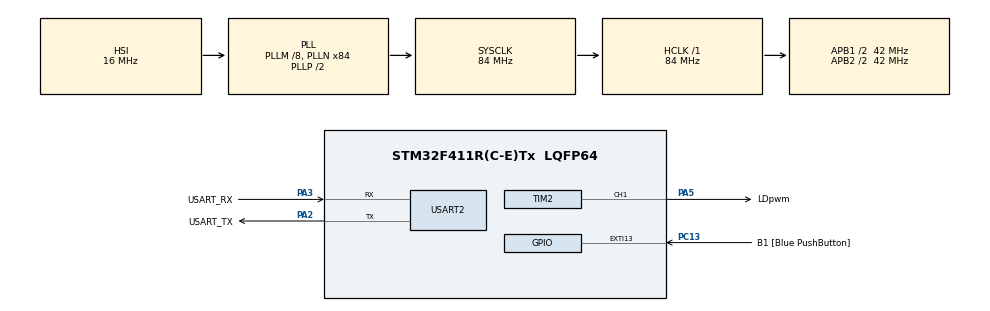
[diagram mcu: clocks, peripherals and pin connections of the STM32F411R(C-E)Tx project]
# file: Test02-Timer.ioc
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Mcu.Family=STM32F4
Mcu.Name=STM32F411R(C-E)Tx
Mcu.Package=LQFP64
NVIC.PriorityGroup=NVIC_PRIORITYGROUP_0
PA13.GPIO_Label=TMS
PA13.Mode=Serial_Wire
PA13.Signal=SYS_JTMS-SWDIO
PA14.GPIO_Label=TCK
PA14.Mode=Serial_Wire
PA14.Signal=SYS_JTCK-SWCLK
PA2.GPIO_Label=USART_TX
PA2.Mode=Asynchronous
PA2.Signal=USART2_TX
PA3.GPIO_Label=USART_RX
PA3.Mode=Asynchronous
PA3.Signal=USART2_RX
PA5.GPIO_Label=LDpwm
PA5.Signal=S_TIM2_CH1_ETR
PB3.GPIO_Label=SWO
PB3.Signal=SYS_JTDO-SWO
PC13-ANTI_TAMP.GPIO_Label=B1 [Blue PushButton]
PC13-ANTI_TAMP.GPIO_ModeDefaultEXTI=GPIO_MODE_IT_FALLING
PC13-ANTI_TAMP.Signal=GPXTI13
PC14-OSC32_IN.Mode=LSE-External-Oscillator
PC14-OSC32_IN.Signal=RCC_OSC32_IN
PC15-OSC32_OUT.Mode=LSE-External-Oscillator
PC15-OSC32_OUT.Signal=RCC_OSC32_OUT
PH0\ -\ OSC_IN.Mode=HSE-External-Clock-Source
PH0\ -\ OSC_IN.Signal=RCC_OSC_IN
PH1\ -\ OSC_OUT.Mode=HSE-External-Clock-Source
PH1\ -\ OSC_OUT.Signal=RCC_OSC_OUT
ProjectManager.HeapSize=0x200
ProjectManager.StackSize=0x400
ProjectManager.TargetToolchain=STM32CubeIDE
RCC.48MHZClocksFreq_Value=42000000
RCC.AHBFreq_Value=84000000
RCC.APB1CLKDivider=RCC_HCLK_DIV2
RCC.APB1Freq_Value=42000000
RCC.APB1TimFreq_Value=84000000
RCC.APB2CLKDivider=RCC_HCLK_DIV2
RCC.APB2Freq_Value=42000000
RCC.APB2TimFreq_Value=84000000
RCC.CortexFreq_Value=84000000
RCC.FLatency-AdvancedSettings=FLASH_LATENCY_2
RCC.HCLKFreq_Value=84000000
RCC.HSE_VALUE=8000000
RCC.HSI_VALUE=16000000
RCC.PLLM=8
RCC.PLLN=84
RCC.SYSCLKFreq_VALUE=84000000
RCC.SYSCLKSource=RCC_SYSCLKSOURCE_PLLCLK
RCC.VCOOutputFreq_Value=168000000
SH.S_TIM2_CH1_ETR.0=TIM2_CH1,PWM Generation1 CH1
TIM2.Channel-PWM\ Generation1\ CH1=TIM_CHANNEL_1
TIM2.Period=1000-1
TIM2.Prescaler=84-1
TIM3.Period=2000-1
TIM3.Prescaler=8400-1
TIM5.Prescaler=84-1
USART2.VirtualMode=VM_ASYNC
VP_TIM2_VS_ClockSourceINT.Mode=Internal
VP_TIM3_VS_ClockSourceINT.Mode=Internal
VP_TIM5_VS_ClockSourceINT.Mode=Internal
board=NUCLEO-F411RE

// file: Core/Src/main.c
/* USER CODE BEGIN Header */
/**
  ******************************************************************************
  * @file           : main.c
  * @brief          : Main program body
  ******************************************************************************
  * @attention
  *
  * Copyright (c) 2023 STMicroelectronics.
  * All rights reserved.
  *
  * This software is licensed under terms that can be found in the LICENSE file
  * in the root directory of this software component.
  * If no LICENSE file comes with this software, it is provided AS-IS.
  *
  ******************************************************************************
  */
/* USER CODE END Header */
#include "main.h"

TIM_HandleTypeDef htim2;
TIM_HandleTypeDef htim3;
TIM_HandleTypeDef htim5;

UART_HandleTypeDef huart2;

void SystemClock_Config(void);
static void MX_GPIO_Init(void);
static void MX_USART2_UART_Init(void);
static void MX_TIM3_Init(void);
static void MX_TIM5_Init(void);
static void MX_TIM2_Init(void);

/* USER CODE BEGIN 0 */

int __io_putchar(int ch)
{
	HAL_UART_Transmit(&huart2, &ch, 1, 10);
	return ch;
}
//extern int __io_getchar(void) __attribute__((weak));

void delay(int us)  // delay for micro-second
{
	int t1 = htim5.Instance->CNT;  // start time
	while(htim5.Instance->CNT - t1 < us) ;
}

void HAL_TIM_PeriodElapsedCallback(TIM_HandleTypeDef *htim)
{
	//HAL_GPIO_TogglePin(LD2_GPIO_Port, LD2_Pin);
	//delay(2000);
}

/* USER CODE END 0 */

int main(void)
{

  /* MCU Configuration--------------------------------------------------------*/

  /* Reset of all peripherals, Initializes the Flash interface and the Systick. */
  HAL_Init();

  /* Configure the system clock */
  SystemClock_Config();

  /* Initialize all configured peripherals */
  MX_GPIO_Init();
  MX_USART2_UART_Init();
  MX_TIM3_Init();
  MX_TIM5_Init();
  MX_TIM2_Init();
  /* USER CODE BEGIN 2 */
  HAL_TIM_Base_Start(&htim5);
  HAL_TIM_PWM_Start(&htim2, TIM_CHANNEL_1);
  HAL_TIM_Base_Start_IT(&htim3);
  /* USER CODE END 2 */

  /* Infinite loop */
  /* USER CODE BEGIN WHILE */
  //int i = 0;
  printf("Program Started.\r\n");
  while (1)
  {
    /* USER CODE END WHILE */

    /* USER CODE BEGIN 3 */
	//  htim2.Instance->CCR1 = i++;
	//  HAL_Delay(1);
	//  if(i >= htim2.Instance->ARR) i = 0;

	  for(int i = 0; i < htim2.Instance->ARR; i++)
	  {
		  printf("htim2.Instance->CCR1 = %d\r\n", i);
		  htim2.Instance->CCR1 = i;
		  delay(10000);
	  }
  }
  /* USER CODE END 3 */
}

void SystemClock_Config(void)
{
  RCC_OscInitTypeDef RCC_OscInitStruct = {0};
  RCC_ClkInitTypeDef RCC_ClkInitStruct = {0};

  /** Configure the main internal regulator output voltage
  */
  __HAL_RCC_PWR_CLK_ENABLE();
  __HAL_PWR_VOLTAGESCALING_CONFIG(PWR_REGULATOR_VOLTAGE_SCALE1);

  /** Initializes the RCC Oscillators according to the specified parameters
  * in the RCC_OscInitTypeDef structure.
  */
  RCC_OscInitStruct.OscillatorType = RCC_OSCILLATORTYPE_HSI;
  RCC_OscInitStruct.HSIState = RCC_HSI_ON;
  RCC_OscInitStruct.HSICalibrationValue = RCC_HSICALIBRATION_DEFAULT;
  RCC_OscInitStruct.PLL.PLLState = RCC_PLL_ON;
  RCC_OscInitStruct.PLL.PLLSource = RCC_PLLSOURCE_HSI;
  RCC_OscInitStruct.PLL.PLLM = 8;
  RCC_OscInitStruct.PLL.PLLN = 84;
  RCC_OscInitStruct.PLL.PLLP = RCC_PLLP_DIV2;
  RCC_OscInitStruct.PLL.PLLQ = 4;
  if (HAL_RCC_OscConfig(&RCC_OscInitStruct) != HAL_OK)
  {
    Error_Handler();
  }

  /** Initializes the CPU, AHB and APB buses clocks
  */
  RCC_ClkInitStruct.ClockType = RCC_CLOCKTYPE_HCLK|RCC_CLOCKTYPE_SYSCLK
                              |RCC_CLOCKTYPE_PCLK1|RCC_CLOCKTYPE_PCLK2;
  RCC_ClkInitStruct.SYSCLKSource = RCC_SYSCLKSOURCE_PLLCLK;
  RCC_ClkInitStruct.AHBCLKDivider = RCC_SYSCLK_DIV1;
  RCC_ClkInitStruct.APB1CLKDivider = RCC_HCLK_DIV2;
  RCC_ClkInitStruct.APB2CLKDivider = RCC_HCLK_DIV2;

  if (HAL_RCC_ClockConfig(&RCC_ClkInitStruct, FLASH_LATENCY_2) != HAL_OK)
  {
    Error_Handler();
  }
}

static void MX_TIM2_Init(void)
{

  TIM_ClockConfigTypeDef sClockSourceConfig = {0};
  TIM_MasterConfigTypeDef sMasterConfig = {0};
  TIM_OC_InitTypeDef sConfigOC = {0};

  htim2.Instance = TIM2;
  htim2.Init.Prescaler = 84-1;
  htim2.Init.CounterMode = TIM_COUNTERMODE_UP;
  htim2.Init.Period = 1000-1;
  htim2.Init.ClockDivision = TIM_CLOCKDIVISION_DIV1;
  htim2.Init.AutoReloadPreload = TIM_AUTORELOAD_PRELOAD_DISABLE;
  if (HAL_TIM_Base_Init(&htim2) != HAL_OK)
  {
    Error_Handler();
  }
  sClockSourceConfig.ClockSource = TIM_CLOCKSOURCE_INTERNAL;
  if (HAL_TIM_ConfigClockSource(&htim2, &sClockSourceConfig) != HAL_OK)
  {
    Error_Handler();
  }
  if (HAL_TIM_PWM_Init(&htim2) != HAL_OK)
  {
    Error_Handler();
  }
  sMasterConfig.MasterOutputTrigger = TIM_TRGO_RESET;
  sMasterConfig.MasterSlaveMode = TIM_MASTERSLAVEMODE_DISABLE;
  if (HAL_TIMEx_MasterConfigSynchronization(&htim2, &sMasterConfig) != HAL_OK)
  {
    Error_Handler();
  }
  sConfigOC.OCMode = TIM_OCMODE_PWM1;
  sConfigOC.Pulse = 0;
  sConfigOC.OCPolarity = TIM_OCPOLARITY_HIGH;
  sConfigOC.OCFastMode = TIM_OCFAST_DISABLE;
  if (HAL_TIM_PWM_ConfigChannel(&htim2, &sConfigOC, TIM_CHANNEL_1) != HAL_OK)
  {
    Error_Handler();
  }
  HAL_TIM_MspPostInit(&htim2);

}

static void MX_TIM3_Init(void)
{

  TIM_ClockConfigTypeDef sClockSourceConfig = {0};
  TIM_MasterConfigTypeDef sMasterConfig = {0};

  htim3.Instance = TIM3;
  htim3.Init.Prescaler = 8400-1;
  htim3.Init.CounterMode = TIM_COUNTERMODE_UP;
  htim3.Init.Period = 2000-1;
  htim3.Init.ClockDivision = TIM_CLOCKDIVISION_DIV1;
  htim3.Init.AutoReloadPreload = TIM_AUTORELOAD_PRELOAD_DISABLE;
  if (HAL_TIM_Base_Init(&htim3) != HAL_OK)
  {
    Error_Handler();
  }
  sClockSourceConfig.ClockSource = TIM_CLOCKSOURCE_INTERNAL;
  if (HAL_TIM_ConfigClockSource(&htim3, &sClockSourceConfig) != HAL_OK)
  {
    Error_Handler();
  }
  sMasterConfig.MasterOutputTrigger = TIM_TRGO_RESET;
  sMasterConfig.MasterSlaveMode = TIM_MASTERSLAVEMODE_DISABLE;
  if (HAL_TIMEx_MasterConfigSynchronization(&htim3, &sMasterConfig) != HAL_OK)
  {
    Error_Handler();
  }

}

static void MX_TIM5_Init(void)
{

  TIM_ClockConfigTypeDef sClockSourceConfig = {0};
  TIM_MasterConfigTypeDef sMasterConfig = {0};

  htim5.Instance = TIM5;
  htim5.Init.Prescaler = 84-1;
  htim5.Init.CounterMode = TIM_COUNTERMODE_UP;
  htim5.Init.Period = 4294967295;
  htim5.Init.ClockDivision = TIM_CLOCKDIVISION_DIV1;
  htim5.Init.AutoReloadPreload = TIM_AUTORELOAD_PRELOAD_DISABLE;
  if (HAL_TIM_Base_Init(&htim5) != HAL_OK)
  {
    Error_Handler();
  }
  sClockSourceConfig.ClockSource = TIM_CLOCKSOURCE_INTERNAL;
  if (HAL_TIM_ConfigClockSource(&htim5, &sClockSourceConfig) != HAL_OK)
  {
    Error_Handler();
  }
  sMasterConfig.MasterOutputTrigger = TIM_TRGO_RESET;
  sMasterConfig.MasterSlaveMode = TIM_MASTERSLAVEMODE_DISABLE;
  if (HAL_TIMEx_MasterConfigSynchronization(&htim5, &sMasterConfig) != HAL_OK)
  {
    Error_Handler();
  }

}

static void MX_USART2_UART_Init(void)
{

  huart2.Instance = USART2;
  huart2.Init.BaudRate = 115200;
  huart2.Init.WordLength = UART_WORDLENGTH_8B;
  huart2.Init.StopBits = UART_STOPBITS_1;
  huart2.Init.Parity = UART_PARITY_NONE;
  huart2.Init.Mode = UART_MODE_TX_RX;
  huart2.Init.HwFlowCtl = UART_HWCONTROL_NONE;
  huart2.Init.OverSampling = UART_OVERSAMPLING_16;
  if (HAL_UART_Init(&huart2) != HAL_OK)
  {
    Error_Handler();
  }

}

static void MX_GPIO_Init(void)
{
  GPIO_InitTypeDef GPIO_InitStruct = {0};

  /* GPIO Ports Clock Enable */
  __HAL_RCC_GPIOC_CLK_ENABLE();
  __HAL_RCC_GPIOH_CLK_ENABLE();
  __HAL_RCC_GPIOA_CLK_ENABLE();
  __HAL_RCC_GPIOB_CLK_ENABLE();

  /*Configure GPIO pin : B1_Pin */
  GPIO_InitStruct.Pin = B1_Pin;
  GPIO_InitStruct.Mode = GPIO_MODE_IT_FALLING;
  GPIO_InitStruct.Pull = GPIO_NOPULL;
  HAL_GPIO_Init(B1_GPIO_Port, &GPIO_InitStruct);

}

void Error_Handler(void)
{
  __disable_irq();
  while (1)
  {
  }
}
